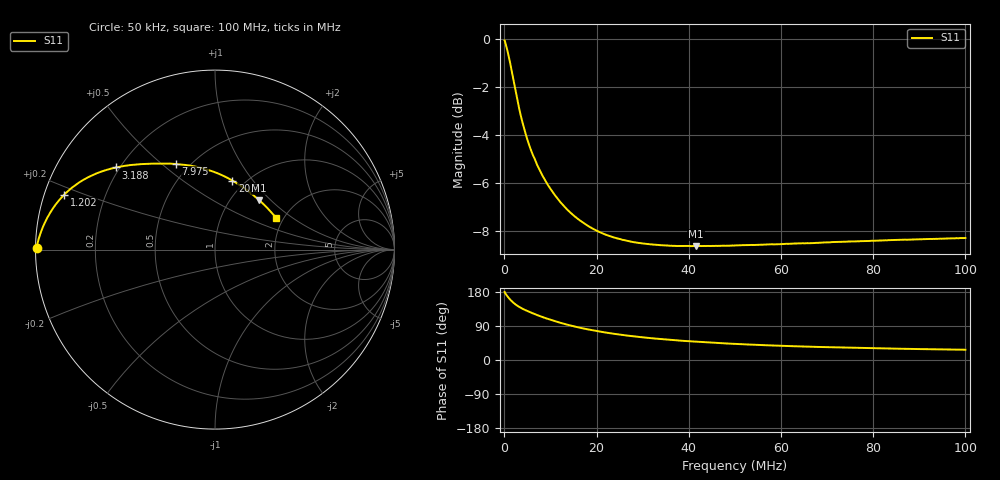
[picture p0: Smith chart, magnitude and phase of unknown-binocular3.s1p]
# HZ S RI R 50
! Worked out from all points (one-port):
!   1010 points, 50 kHz to 100 MHz, reference 50 ohm
!   lowest |S11| = -8.7 dB at 41.56 MHz (marker M1), VSWR 2.17, Z = 67 + j42.7 ohm
!   |S11| at or under -10 dB: nowhere
!   S11 on the Smith chart (normalised r, x): 50 kHz: 0.00, +0.00; 1.202 MHz: 0.06, +0.17; 3.188 MHz: 0.19, +0.35; 7.975 MHz: 0.42, +0.56; 20.3 MHz: 0.87, +0.80; 100 MHz: 1.84, +0.75
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50000  -0.9923 0.00851
169100  -0.9833 0.0574
288300  -0.9705 0.0957
486900  -0.9471 0.1518
685600  -0.9211 0.2013
923900  -0.886 0.2534
1202000  -0.8418 0.3043
1639000  -0.7701 0.3648
2076000  -0.7006 0.4061
2592500  -0.6261 0.4371
3188400  -0.5518 0.4575
4022756  -0.4674 0.4711
5208456  -0.374 0.4782
7008956  -0.2652 0.4795
7975156  -0.2189 0.4767
1.018173e7  -0.1283 0.4662
1.258733e7  -0.0524 0.4481
1.605111e7  0.0286 0.4193
2.030332e7  0.0971 0.3846
2.505802e7  0.1496 0.3517
3.093879e7  0.194 0.3188
3.756528e7  0.2295 0.2898
4.156478e7  0.2459 0.2754
5.013004e7  0.2735 0.25
6.265752e7  0.3008 0.2219
7.515277e7  0.3193 0.2017
8.757637e7  0.3322 0.1865
9.999997e7  0.3419 0.175
